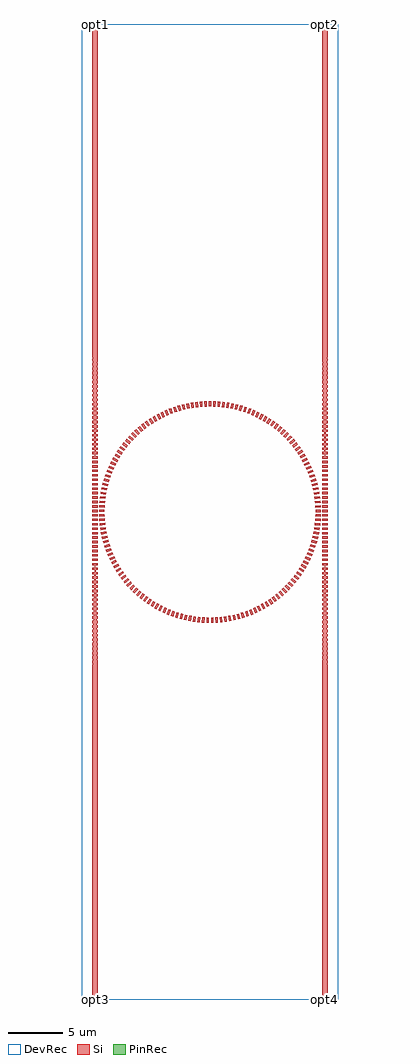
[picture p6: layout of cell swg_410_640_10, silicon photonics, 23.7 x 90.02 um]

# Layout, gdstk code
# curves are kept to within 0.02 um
import gdstk
lib = gdstk.Library(unit=1e-6, precision=1e-09)
def R(c, l, rs):  # rectangles x0, y0, x1, y1
    for r in rs: c.add(gdstk.rectangle(r[:2], r[2:], *l))
def A(c, l, x, y, w, h, nx, ny, dx, dy):  # array of equal rectangles
    R(c, l, [(x+i*dx, y+j*dy, x+i*dx+w, y+j*dy+h) for i in range(nx) for j in range(ny)])
def P(c, l, *ps):  # polygons
    for p in ps: c.add(gdstk.Polygon(p, *l))
Si = (1, 0)
PinRec = (1, 10)
DevRec = (68, 0)

swg_410_640_10 = lib.new_cell('swg_410_640_10')
A(swg_410_640_10, Si, 0, 40.49, 0.5, 0.205, 1, 23, 0, 0.41)
A(swg_410_640_10, Si, 21.204, 40.49, 0.5, 0.205, 1, 23, 0, 0.41)
P(swg_410_640_10, Si, [(0,49.92),(0,50.125),(0.216,50.125),(0.212,50.33),(0,50.33),(0,50.535),(0.207,50.535),(0.203,50.74),(0,50.74),(0,50.945),(0.198,50.945),(0.194,51.15),(0,51.15),(0,51.355),(0.189,51.355),(0.185,51.56),(0,51.56),(0,51.765),(0.18,51.765),(0.176,51.97),(0,51.97),(0,52.175),(0.171,52.175),(0.167,52.38),(0,52.38),(0,52.585),(0.162,52.585),(0.158,52.79),(0,52.79),(0,52.995),(0.153,52.995),(0.149,53.2),(0,53.2),(0,53.405),(0.144,53.405),(0.14,53.61),(0,53.61),(0,53.815),(0.135,53.815),(0.131,54.02),(0,54.02),(0,54.225),(0.126,54.225),(0.122,54.43),(0,54.43),(0,54.635),(0.117,54.635),(0.113,54.84),(0,54.84),(0,55.045),(0.108,55.045),(0.104,55.25),(0,55.25),(0,55.455),(0.099,55.455),(0.095,55.66),(0,55.66),(0,55.865),(0.09,55.865),(0.086,56.07),(0,56.07),(0,56.275),(0.081,56.275),(0.077,56.48),(0,56.48),(0,56.685),(0.072,56.685),(0.068,56.89),(0,56.89),(0,57.095),(0.063,57.095),(0.059,57.3),(0,57.3),(0,57.505),(0.054,57.505),(0.05,57.71),(0,57.71),(0,57.915),(0.045,57.915),(0.041,58.12),(0,58.12),(0,58.325),(0.036,58.325),(0.032,58.53),(0,58.53),(0,58.735),(0.027,58.735),(0.023,58.94),(0,58.94),(0,90),(0.5,90),(0.5,58.94),(0.477,58.94),(0.473,58.735),(0.5,58.735),(0.5,58.53),(0.468,58.53),(0.464,58.325),(0.5,58.325),(0.5,58.12),(0.459,58.12),(0.455,57.915),(0.5,57.915),(0.5,57.71),(0.45,57.71),(0.446,57.505),(0.5,57.505),(0.5,57.3),(0.441,57.3),(0.437,57.095),(0.5,57.095),(0.5,56.89),(0.432,56.89),(0.428,56.685),(0.5,56.685),(0.5,56.48),(0.423,56.48),(0.419,56.275),(0.5,56.275),(0.5,56.07),(0.414,56.07),(0.41,55.865),(0.5,55.865),(0.5,55.66),(0.405,55.66),(0.401,55.455),(0.5,55.455),(0.5,55.25),(0.396,55.25),(0.392,55.045),(0.5,55.045),(0.5,54.84),(0.387,54.84),(0.383,54.635),(0.5,54.635),(0.5,54.43),(0.378,54.43),(0.374,54.225),(0.5,54.225),(0.5,54.02),(0.369,54.02),(0.365,53.815),(0.5,53.815),(0.5,53.61),(0.36,53.61),(0.356,53.405),(0.5,53.405),(0.5,53.2),(0.351,53.2),(0.347,52.995),(0.5,52.995),(0.5,52.79),(0.342,52.79),(0.338,52.585),(0.5,52.585),(0.5,52.38),(0.333,52.38),(0.329,52.175),(0.5,52.175),(0.5,51.97),(0.324,51.97),(0.32,51.765),(0.5,51.765),(0.5,51.56),(0.315,51.56),(0.311,51.355),(0.5,51.355),(0.5,51.15),(0.306,51.15),(0.302,50.945),(0.5,50.945),(0.5,50.74),(0.297,50.74),(0.293,50.535),(0.5,50.535),(0.5,50.33),(0.288,50.33),(0.284,50.125),(0.5,50.125),(0.5,49.92)],
  [(21.204,49.92),(21.204,50.125),(21.42,50.125),(21.416,50.33),(21.204,50.33),(21.204,50.535),(21.411,50.535),(21.407,50.74),(21.204,50.74),(21.204,50.945),(21.402,50.945),(21.398,51.15),(21.204,51.15),(21.204,51.355),(21.393,51.355),(21.389,51.56),(21.204,51.56),(21.204,51.765),(21.384,51.765),(21.38,51.97),(21.204,51.97),(21.204,52.175),(21.375,52.175),(21.371,52.38),(21.204,52.38),(21.204,52.585),(21.366,52.585),(21.362,52.79),(21.204,52.79),(21.204,52.995),(21.357,52.995),(21.353,53.2),(21.204,53.2),(21.204,53.405),(21.348,53.405),(21.344,53.61),(21.204,53.61),(21.204,53.815),(21.339,53.815),(21.335,54.02),(21.204,54.02),(21.204,54.225),(21.33,54.225),(21.326,54.43),(21.204,54.43),(21.204,54.635),(21.321,54.635),(21.317,54.84),(21.204,54.84),(21.204,55.045),(21.312,55.045),(21.308,55.25),(21.204,55.25),(21.204,55.455),(21.303,55.455),(21.299,55.66),(21.204,55.66),(21.204,55.865),(21.294,55.865),(21.29,56.07),(21.204,56.07),(21.204,56.275),(21.285,56.275),(21.281,56.48),(21.204,56.48),(21.204,56.685),(21.276,56.685),(21.272,56.89),(21.204,56.89),(21.204,57.095),(21.267,57.095),(21.263,57.3),(21.204,57.3),(21.204,57.505),(21.258,57.505),(21.254,57.71),(21.204,57.71),(21.204,57.915),(21.249,57.915),(21.245,58.12),(21.204,58.12),(21.204,58.325),(21.24,58.325),(21.236,58.53),(21.204,58.53),(21.204,58.735),(21.231,58.735),(21.227,58.94),(21.204,58.94),(21.204,90),(21.704,90),(21.704,58.94),(21.681,58.94),(21.677,58.735),(21.704,58.735),(21.704,58.53),(21.672,58.53),(21.668,58.325),(21.704,58.325),(21.704,58.12),(21.663,58.12),(21.659,57.915),(21.704,57.915),(21.704,57.71),(21.654,57.71),(21.65,57.505),(21.704,57.505),(21.704,57.3),(21.645,57.3),(21.641,57.095),(21.704,57.095),(21.704,56.89),(21.636,56.89),(21.632,56.685),(21.704,56.685),(21.704,56.48),(21.627,56.48),(21.623,56.275),(21.704,56.275),(21.704,56.07),(21.618,56.07),(21.614,55.865),(21.704,55.865),(21.704,55.66),(21.609,55.66),(21.605,55.455),(21.704,55.455),(21.704,55.25),(21.6,55.25),(21.596,55.045),(21.704,55.045),(21.704,54.84),(21.591,54.84),(21.587,54.635),(21.704,54.635),(21.704,54.43),(21.582,54.43),(21.578,54.225),(21.704,54.225),(21.704,54.02),(21.573,54.02),(21.569,53.815),(21.704,53.815),(21.704,53.61),(21.564,53.61),(21.56,53.405),(21.704,53.405),(21.704,53.2),(21.555,53.2),(21.551,52.995),(21.704,52.995),(21.704,52.79),(21.546,52.79),(21.542,52.585),(21.704,52.585),(21.704,52.38),(21.537,52.38),(21.533,52.175),(21.704,52.175),(21.704,51.97),(21.528,51.97),(21.524,51.765),(21.704,51.765),(21.704,51.56),(21.519,51.56),(21.515,51.355),(21.704,51.355),(21.704,51.15),(21.51,51.15),(21.506,50.945),(21.704,50.945),(21.704,50.74),(21.501,50.74),(21.497,50.535),(21.704,50.535),(21.704,50.33),(21.492,50.33),(21.488,50.125),(21.704,50.125),(21.704,49.92)],
  [(10.754,54.733),(10.749,55.233),(10.959,55.233),(10.954,54.733)],
  [(9.559,54.648),(9.493,55.143),(9.701,55.169),(9.757,54.672)],
  [(3.147,50.948),(2.751,51.254),(2.881,51.419),(3.271,51.105)],
  [(5.816,53.33),(5.557,53.757),(5.738,53.864),(5.988,53.431)],
  [(6.162,53.529),(5.921,53.967),(6.106,54.067),(6.338,53.624)],
  [(1.519,47.763),(1.039,47.905),(1.101,48.106),(1.577,47.955)],
  [(1.151,45.803),(0.653,45.844),(0.673,46.053),(1.17,46.002)],
  [(2.475,49.956),(2.044,50.211),(2.153,50.391),(2.578,50.127)],
  [(3.936,51.85),(3.581,52.202),(3.73,52.349),(4.078,51.99)],
  [(9.956,54.692),(9.91,55.19),(10.12,55.208),(10.155,54.709)],
  [(2.096,49.252),(1.646,49.471),(1.74,49.659),(2.185,49.431)],
  [(4.223,52.128),(3.883,52.494),(4.038,52.635),(4.371,52.262)],
  [(2.685,50.296),(2.266,50.568),(2.382,50.743),(2.795,50.463)],
  [(4.521,52.394),(4.196,52.774),(4.357,52.909),(4.675,52.522)],
  [(1.127,45.404),(0.627,45.425),(0.638,45.634),(1.137,45.603)],
  [(5.149,52.888),(4.856,53.293),(5.028,53.415),(5.312,53.004)],
  [(5.478,53.116),(5.202,53.533),(5.378,53.647),(5.646,53.224)],
  [(10.355,54.721),(10.329,55.22),(10.539,55.229),(10.554,54.729)],
  [(1.192,46.2),(0.696,46.262),(0.724,46.47),(1.219,46.398)],
  [(1.25,46.596),(0.757,46.678),(0.793,46.885),(1.285,46.793)],
  [(8.772,54.509),(8.665,54.997),(8.871,55.04),(8.968,54.55)],
  [(2.278,49.608),(1.838,49.845),(1.939,50.029),(2.375,49.783)],
  [(7.619,54.181),(7.453,54.653),(7.652,54.721),(7.809,54.246)],
  [(1.929,48.889),(1.471,49.089),(1.557,49.281),(2.011,49.072)],
  [(6.516,53.715),(6.293,54.162),(6.482,54.254),(6.696,53.802)],
  [(1.324,46.989),(0.834,47.091),(0.879,47.296),(1.366,47.184)],
  [(3.398,51.259),(3.015,51.581),(3.151,51.74),(3.528,51.411)],
  [(7.999,54.306),(7.852,54.784),(8.054,54.844),(8.191,54.363)],
  [(9.164,54.586),(9.077,55.079),(9.285,55.113),(9.361,54.619)],
  [(1.777,48.52),(1.311,48.701),(1.389,48.896),(1.851,48.705)],
  [(6.877,53.885),(6.673,54.342),(6.866,54.425),(7.06,53.965)],
  [(1.118,45.004),(0.618,45.005),(0.62,45.215),(1.12,45.204)],
  [(8.383,54.416),(8.257,54.899),(8.46,54.95),(8.577,54.464)],
  [(1.64,48.144),(1.167,48.306),(1.237,48.504),(1.707,48.333)],
  [(2.909,50.627),(2.501,50.916),(2.625,51.086),(3.026,50.789)],
  [(7.245,54.041),(7.06,54.505),(7.256,54.581),(7.432,54.113)],
  [(4.83,52.648),(4.521,53.04),(4.687,53.169),(4.989,52.77)],
  [(1.413,47.378),(0.928,47.5),(0.982,47.703),(1.464,47.571)],
  [(3.661,51.56),(3.291,51.897),(3.435,52.051),(3.797,51.706)],
  [(19.232,49.953),(19.128,50.124),(19.553,50.387),(19.662,50.207)],
  [(20.512,46.196),(20.485,46.394),(20.98,46.466),(21.008,46.257)],
  [(12.149,54.647),(11.951,54.672),(12.007,55.168),(12.216,55.143)],
  [(11.354,54.721),(11.154,54.729),(11.169,55.229),(11.379,55.22)],
  [(14.831,53.883),(14.648,53.963),(14.843,54.424),(15.035,54.34)],
  [(12.544,54.586),(12.347,54.618),(12.424,55.112),(12.631,55.078)],
  [(13.709,54.305),(13.517,54.362),(13.654,54.843),(13.856,54.783)],
  [(14.089,54.18),(13.9,54.244),(14.056,54.719),(14.255,54.651)],
  [(19.428,49.604),(19.332,49.779),(19.767,50.025),(19.868,49.841)],
  [(16.877,52.645),(16.719,52.767),(17.02,53.166),(17.187,53.038)],
  [(20.186,47.759),(20.128,47.95),(20.604,48.102),(20.666,47.901)],
  [(18.309,51.256),(18.179,51.408),(18.556,51.737),(18.692,51.577)],
  [(15.192,53.713),(15.012,53.8),(15.226,54.252),(15.415,54.16)],
  [(19.021,50.292),(18.911,50.459),(19.325,50.739),(19.441,50.564)],
  [(20.381,46.984),(20.339,47.18),(20.826,47.292),(20.871,47.086)],
  [(16.558,52.886),(16.395,53.001),(16.68,53.412),(16.851,53.291)],
  [(20.292,47.374),(20.241,47.567),(20.723,47.699),(20.777,47.496)],
  [(19.61,49.248),(19.521,49.427),(19.966,49.655),(20.06,49.467)],
  [(19.929,48.516),(19.855,48.701),(20.317,48.892),(20.395,48.696)],
  [(16.23,53.113),(16.062,53.222),(16.33,53.644),(16.506,53.53)],
  [(17.771,51.847),(17.629,51.987),(17.977,52.346),(18.126,52.198)],
  [(15.892,53.327),(15.72,53.429),(15.97,53.862),(16.151,53.755)],
  [(14.463,54.039),(14.276,54.112),(14.452,54.58),(14.648,54.504)],
  [(13.325,54.414),(13.131,54.463),(13.248,54.949),(13.452,54.898)],
  [(19.777,48.885),(19.695,49.068),(20.149,49.277),(20.235,49.085)],
  [(18.046,51.557),(17.91,51.703),(18.272,52.047),(18.416,51.894)],
  [(20.578,45.4),(20.567,45.599),(21.066,45.63),(21.077,45.42)],
  [(18.797,50.623),(18.68,50.785),(19.082,51.082),(19.205,50.912)],
  [(20.065,48.14),(19.999,48.329),(20.469,48.5),(20.539,48.302)],
  [(18.56,50.945),(18.436,51.102),(18.826,51.415),(18.956,51.25)],
  [(20.586,45),(20.584,45.2),(21.084,45.21),(21.086,45)],
  [(20.553,45.798),(20.535,45.997),(21.032,46.049),(21.051,45.839)],
  [(11.752,54.692),(11.553,54.709),(11.589,55.207),(11.798,55.19)],
  [(20.455,46.592),(20.42,46.788),(20.912,46.88),(20.948,46.673)],
  [(15.546,53.527),(15.37,53.622),(15.602,54.065),(15.787,53.965)],
  [(12.936,54.508),(12.741,54.549),(12.838,55.039),(13.043,54.996)],
  [(17.186,52.391),(17.033,52.52),(17.35,52.906),(17.511,52.771)],
  [(17.484,52.125),(17.336,52.26),(17.669,52.632),(17.825,52.491)],
  [(17.818,37.503),(17.478,37.869),(17.623,38.007),(17.97,37.648)],
  [(16.498,36.465),(16.223,36.882),(16.388,36.994),(16.672,36.583)],
  [(9.901,34.81),(9.692,34.832),(9.749,35.329),(9.948,35.308)],
  [(2.261,39.44),(2.148,39.617),(2.574,39.88),(2.68,39.711)],
  [(5.194,36.472),(5.02,36.59),(5.305,37.001),(5.471,36.889)],
  [(20.536,41.69),(20.063,41.852),(20.125,42.041),(20.602,41.889)],
  [(11.789,34.809),(11.744,35.307),(11.942,35.327),(11.998,34.831)],
  [(20.232,40.907),(19.773,41.107),(19.851,41.291),(20.314,41.1)],
  [(19.658,39.785),(19.227,40.04),(19.327,40.213),(19.763,39.967)],
  [(10.95,34.767),(10.945,35.267),(11.145,35.271),(11.16,34.771)],
  [(2.496,39.092),(2.377,39.264),(2.791,39.545),(2.904,39.38)],
  [(0,0),(0,31.265),(0.023,31.265),(0.027,31.47),(0,31.47),(0,31.675),(0.032,31.675),(0.036,31.88),(0,31.88),(0,32.085),(0.041,32.085),(0.045,32.29),(0,32.29),(0,32.495),(0.05,32.495),(0.054,32.7),(0,32.7),(0,32.905),(0.059,32.905),(0.063,33.11),(0,33.11),(0,33.315),(0.068,33.315),(0.072,33.52),(0,33.52),(0,33.725),(0.077,33.725),(0.081,33.93),(0,33.93),(0,34.135),(0.086,34.135),(0.09,34.34),(0,34.34),(0,34.545),(0.095,34.545),(0.099,34.75),(0,34.75),(0,34.955),(0.104,34.955),(0.108,35.16),(0,35.16),(0,35.365),(0.113,35.365),(0.117,35.57),(0,35.57),(0,35.775),(0.122,35.775),(0.126,35.98),(0,35.98),(0,36.185),(0.131,36.185),(0.135,36.39),(0,36.39),(0,36.595),(0.14,36.595),(0.144,36.8),(0,36.8),(0,37.005),(0.149,37.005),(0.153,37.21),(0,37.21),(0,37.415),(0.158,37.415),(0.162,37.62),(0,37.62),(0,37.825),(0.167,37.825),(0.171,38.03),(0,38.03),(0,38.235),(0.176,38.235),(0.18,38.44),(0,38.44),(0,38.645),(0.185,38.645),(0.189,38.85),(0,38.85),(0,39.055),(0.194,39.055),(0.198,39.26),(0,39.26),(0,39.465),(0.203,39.465),(0.207,39.67),(0,39.67),(0,39.875),(0.212,39.875),(0.216,40.08),(0,40.08),(0,40.285),(0.5,40.285),(0.5,40.08),(0.284,40.08),(0.288,39.875),(0.5,39.875),(0.5,39.67),(0.293,39.67),(0.297,39.465),(0.5,39.465),(0.5,39.26),(0.302,39.26),(0.306,39.055),(0.5,39.055),(0.5,38.85),(0.311,38.85),(0.315,38.645),(0.5,38.645),(0.5,38.44),(0.32,38.44),(0.324,38.235),(0.5,38.235),(0.5,38.03),(0.329,38.03),(0.333,37.825),(0.5,37.825),(0.5,37.62),(0.338,37.62),(0.342,37.415),(0.5,37.415),(0.5,37.21),(0.347,37.21),(0.351,37.005),(0.5,37.005),(0.5,36.8),(0.356,36.8),(0.36,36.595),(0.5,36.595),(0.5,36.39),(0.365,36.39),(0.369,36.185),(0.5,36.185),(0.5,35.98),(0.374,35.98),(0.378,35.775),(0.5,35.775),(0.5,35.57),(0.383,35.57),(0.387,35.365),(0.5,35.365),(0.5,35.16),(0.392,35.16),(0.396,34.955),(0.5,34.955),(0.5,34.75),(0.401,34.75),(0.405,34.545),(0.5,34.545),(0.5,34.34),(0.41,34.34),(0.414,34.135),(0.5,34.135),(0.5,33.93),(0.419,33.93),(0.423,33.725),(0.5,33.725),(0.5,33.52),(0.428,33.52),(0.432,33.315),(0.5,33.315),(0.5,33.11),(0.437,33.11),(0.441,32.905),(0.5,32.905),(0.5,32.7),(0.446,32.7),(0.45,32.495),(0.5,32.495),(0.5,32.29),(0.455,32.29),(0.459,32.085),(0.5,32.085),(0.5,31.88),(0.464,31.88),(0.468,31.675),(0.5,31.675),(0.5,31.47),(0.473,31.47),(0.477,31.265),(0.5,31.265),(0.5,0)],
  [(15.407,35.836),(15.184,36.284),(15.362,36.374),(15.594,35.931)],
  [(4.514,36.965),(4.35,37.097),(4.668,37.483),(4.823,37.358)],
  [(0.627,44.584),(0.62,44.794),(1.12,44.804),(1.126,44.605)],
  [(19.2,39.081),(18.792,39.37),(18.906,39.534),(19.32,39.253)],
  [(21.204,0),(21.204,31.265),(21.227,31.265),(21.231,31.47),(21.204,31.47),(21.204,31.675),(21.236,31.675),(21.24,31.88),(21.204,31.88),(21.204,32.085),(21.245,32.085),(21.249,32.29),(21.204,32.29),(21.204,32.495),(21.254,32.495),(21.258,32.7),(21.204,32.7),(21.204,32.905),(21.263,32.905),(21.267,33.11),(21.204,33.11),(21.204,33.315),(21.272,33.315),(21.276,33.52),(21.204,33.52),(21.204,33.725),(21.281,33.725),(21.285,33.93),(21.204,33.93),(21.204,34.135),(21.29,34.135),(21.294,34.34),(21.204,34.34),(21.204,34.545),(21.299,34.545),(21.303,34.75),(21.204,34.75),(21.204,34.955),(21.308,34.955),(21.312,35.16),(21.204,35.16),(21.204,35.365),(21.317,35.365),(21.321,35.57),(21.204,35.57),(21.204,35.775),(21.326,35.775),(21.33,35.98),(21.204,35.98),(21.204,36.185),(21.335,36.185),(21.339,36.39),(21.204,36.39),(21.204,36.595),(21.344,36.595),(21.348,36.8),(21.204,36.8),(21.204,37.005),(21.353,37.005),(21.357,37.21),(21.204,37.21),(21.204,37.415),(21.362,37.415),(21.366,37.62),(21.204,37.62),(21.204,37.825),(21.371,37.825),(21.375,38.03),(21.204,38.03),(21.204,38.235),(21.38,38.235),(21.384,38.44),(21.204,38.44),(21.204,38.645),(21.389,38.645),(21.393,38.85),(21.204,38.85),(21.204,39.055),(21.398,39.055),(21.402,39.26),(21.204,39.26),(21.204,39.465),(21.407,39.465),(21.411,39.67),(21.204,39.67),(21.204,39.875),(21.416,39.875),(21.42,40.08),(21.204,40.08),(21.204,40.285),(21.704,40.285),(21.704,40.08),(21.488,40.08),(21.492,39.875),(21.704,39.875),(21.704,39.67),(21.497,39.67),(21.501,39.465),(21.704,39.465),(21.704,39.26),(21.506,39.26),(21.51,39.055),(21.704,39.055),(21.704,38.85),(21.515,38.85),(21.519,38.645),(21.704,38.645),(21.704,38.44),(21.524,38.44),(21.528,38.235),(21.704,38.235),(21.704,38.03),(21.533,38.03),(21.537,37.825),(21.704,37.825),(21.704,37.62),(21.542,37.62),(21.546,37.415),(21.704,37.415),(21.704,37.21),(21.551,37.21),(21.555,37.005),(21.704,37.005),(21.704,36.8),(21.56,36.8),(21.564,36.595),(21.704,36.595),(21.704,36.39),(21.569,36.39),(21.573,36.185),(21.704,36.185),(21.704,35.98),(21.578,35.98),(21.582,35.775),(21.704,35.775),(21.704,35.57),(21.587,35.57),(21.591,35.365),(21.704,35.365),(21.704,35.16),(21.596,35.16),(21.6,34.955),(21.704,34.955),(21.704,34.75),(21.605,34.75),(21.609,34.545),(21.704,34.545),(21.704,34.34),(21.614,34.34),(21.618,34.135),(21.704,34.135),(21.704,33.93),(21.623,33.93),(21.627,33.725),(21.704,33.725),(21.704,33.52),(21.632,33.52),(21.636,33.315),(21.704,33.315),(21.704,33.11),(21.641,33.11),(21.645,32.905),(21.704,32.905),(21.704,32.7),(21.65,32.7),(21.654,32.495),(21.704,32.495),(21.704,32.29),(21.659,32.29),(21.663,32.085),(21.704,32.085),(21.704,31.88),(21.668,31.88),(21.672,31.675),(21.704,31.675),(21.704,31.47),(21.677,31.47),(21.681,31.265),(21.704,31.265),(21.704,0)],
  [(13.034,35.002),(12.928,35.49),(13.123,35.535),(13.239,35.049)],
  [(3.575,37.805),(3.428,37.956),(3.791,38.3),(3.93,38.156)],
  [(7.052,35.498),(6.857,35.578),(7.052,36.038),(7.237,35.962)],
  [(5.549,36.247),(5.371,36.358),(5.638,36.78),(5.808,36.675)],
  [(20.775,42.495),(20.29,42.618),(20.337,42.812),(20.824,42.7)],
  [(14.64,35.493),(14.455,35.958),(14.64,36.033),(14.834,35.573)],
  [(18.12,37.795),(17.765,38.147),(17.904,38.291),(18.266,37.946)],
  [(21.077,44.571),(20.577,44.592),(20.584,44.792),(21.083,44.781)],
  [(8.248,35.103),(8.045,35.159),(8.182,35.639),(8.375,35.587)],
  [(13.443,35.1),(13.316,35.583),(13.509,35.636),(13.646,35.155)],
  [(11.37,34.779),(11.345,35.279),(11.544,35.291),(11.58,34.792)],
  [(7.844,35.218),(7.644,35.282),(7.8,35.757),(7.991,35.696)],
  [(14.246,35.346),(14.081,35.817),(14.268,35.885),(14.444,35.417)],
  [(1.037,42.103),(0.979,42.305),(1.462,42.437),(1.516,42.245)],
  [(20.869,42.905),(20.38,43.007),(20.419,43.203),(20.91,43.111)],
  [(12.622,34.92),(12.536,35.413),(12.732,35.45),(12.829,34.959)],
  [(19.864,40.151),(19.424,40.388),(19.517,40.565),(19.962,40.337)],
  [(5.913,36.037),(5.73,36.14),(5.98,36.573),(6.154,36.475)],
  [(0.652,44.165),(0.637,44.375),(1.136,44.405),(1.151,44.206)],
  [(9.484,34.858),(9.276,34.888),(9.353,35.382),(9.551,35.354)],
  [(20.056,40.525),(19.606,40.744),(19.691,40.924),(20.146,40.715)],
  [(0.755,43.331),(0.723,43.539),(1.218,43.61),(1.249,43.413)],
  [(20.663,42.09),(20.184,42.232),(20.239,42.425),(20.721,42.292)],
  [(16.143,36.24),(15.885,36.668),(16.055,36.773),(16.322,36.351)],
  [(12.207,34.856),(12.141,35.352),(12.339,35.38),(12.415,34.886)],
  [(1.833,40.163),(1.736,40.349),(2.181,40.576),(2.274,40.399)],
  [(1.164,41.703),(1.098,41.902),(1.575,42.054),(1.637,41.864)],
  [(2.746,38.754),(2.619,38.921),(3.021,39.218),(3.142,39.059)],
  [(20.947,43.318),(20.453,43.4),(20.484,43.597),(20.979,43.525)],
  [(18.95,38.743),(18.554,39.049),(18.675,39.208),(19.077,38.91)],
  [(3.009,38.426),(2.876,38.588),(3.265,38.902),(3.392,38.747)],
  [(2.04,39.797),(1.935,39.979),(2.37,40.224),(2.47,40.051)],
  [(0.926,42.509),(0.877,42.713),(1.364,42.825),(1.411,42.63)],
  [(21.007,43.734),(20.511,43.795),(20.534,43.994),(21.031,43.942)],
  [(3.876,37.512),(3.724,37.657),(4.072,38.016),(4.217,37.878)],
  [(18.409,38.1),(18.04,38.437),(18.173,38.586),(18.55,38.256)],
  [(17.18,36.957),(16.87,37.35),(17.026,37.475),(17.343,37.088)],
  [(21.051,44.152),(20.552,44.193),(20.567,44.392),(21.066,44.361)],
  [(7.445,35.35),(7.247,35.422),(7.424,35.89),(7.611,35.822)],
  [(15.779,36.03),(15.539,36.469),(15.713,36.567),(15.962,36.134)],
  [(1.307,41.308),(1.234,41.505),(1.704,41.675),(1.774,41.488)],
  [(6.665,35.662),(6.474,35.75),(6.688,36.202),(6.869,36.118)],
  [(20.392,41.295),(19.926,41.476),(19.996,41.663),(20.466,41.492)],
  [(13.847,35.214),(13.701,35.692),(13.891,35.753),(14.047,35.278)],
  [(6.285,35.842),(6.098,35.938),(6.33,36.38),(6.508,36.289)],
  [(3.285,38.11),(3.146,38.266),(3.522,38.595),(3.655,38.446)],
  [(15.027,35.657),(14.823,36.113),(15.005,36.196),(15.218,35.744)],
  [(10.32,34.78),(10.111,34.793),(10.147,35.292),(10.346,35.279)],
  [(0.695,43.747),(0.672,43.956),(1.169,44.007),(1.191,43.808)],
  [(1.642,40.537),(1.553,40.727),(2.007,40.936),(2.092,40.755)],
  [(19.436,39.428),(19.017,39.7),(19.124,39.869),(19.549,39.606)],
  [(10.74,34.767),(10.53,34.771),(10.546,35.271),(10.746,35.267)],
  [(8.656,35.005),(8.452,35.052),(8.569,35.538),(8.764,35.493)],
  [(18.686,38.416),(18.304,38.737),(18.431,38.892),(18.82,38.578)],
  [(0.832,42.918),(0.792,43.124),(1.283,43.216),(1.322,43.02)],
  [(4.849,36.712),(4.68,36.837),(4.982,37.236),(5.142,37.117)],
  [(1.467,40.919),(1.385,41.113),(1.848,41.303),(1.926,41.119)],
  [(4.189,37.232),(4.031,37.371),(4.365,37.743),(4.515,37.612)],
  [(16.844,36.704),(16.551,37.109),(16.712,37.228),(17.013,36.829)],
  [(9.068,34.923),(8.862,34.962),(8.959,35.452),(9.156,35.415)],
  [(17.504,37.223),(17.179,37.603),(17.33,37.735),(17.663,37.362)])
R(swg_410_640_10, DevRec, [(-1,0,22.704,90)])
swg_410_640_10.add(gdstk.FlexPath([(0.25,89.99),(0.25,90.01)], 0.5, ends="flush", simple_path=True, layer=1, datatype=10))  # PinRec
swg_410_640_10.add(gdstk.FlexPath([(21.454,89.99),(21.454,90.01)], 0.5, ends="flush", simple_path=True, layer=1, datatype=10))  # PinRec
swg_410_640_10.add(gdstk.FlexPath([(0.25,0.01),(0.25,-0.01)], 0.5, ends="flush", simple_path=True, layer=1, datatype=10))  # PinRec
swg_410_640_10.add(gdstk.FlexPath([(21.454,0.01),(21.454,-0.01)], 0.5, ends="flush", simple_path=True, layer=1, datatype=10))  # PinRec
swg_410_640_10.add(gdstk.Label('opt1', (0.25,90), layer=1, texttype=10))
swg_410_640_10.add(gdstk.Label('opt2', (21.454,90), layer=1, texttype=10))
swg_410_640_10.add(gdstk.Label('opt3', (0.25,0), layer=1, texttype=10))
swg_410_640_10.add(gdstk.Label('opt4', (21.454,0), layer=1, texttype=10))

lib.write_gds('swg_410_640_10.gds')
